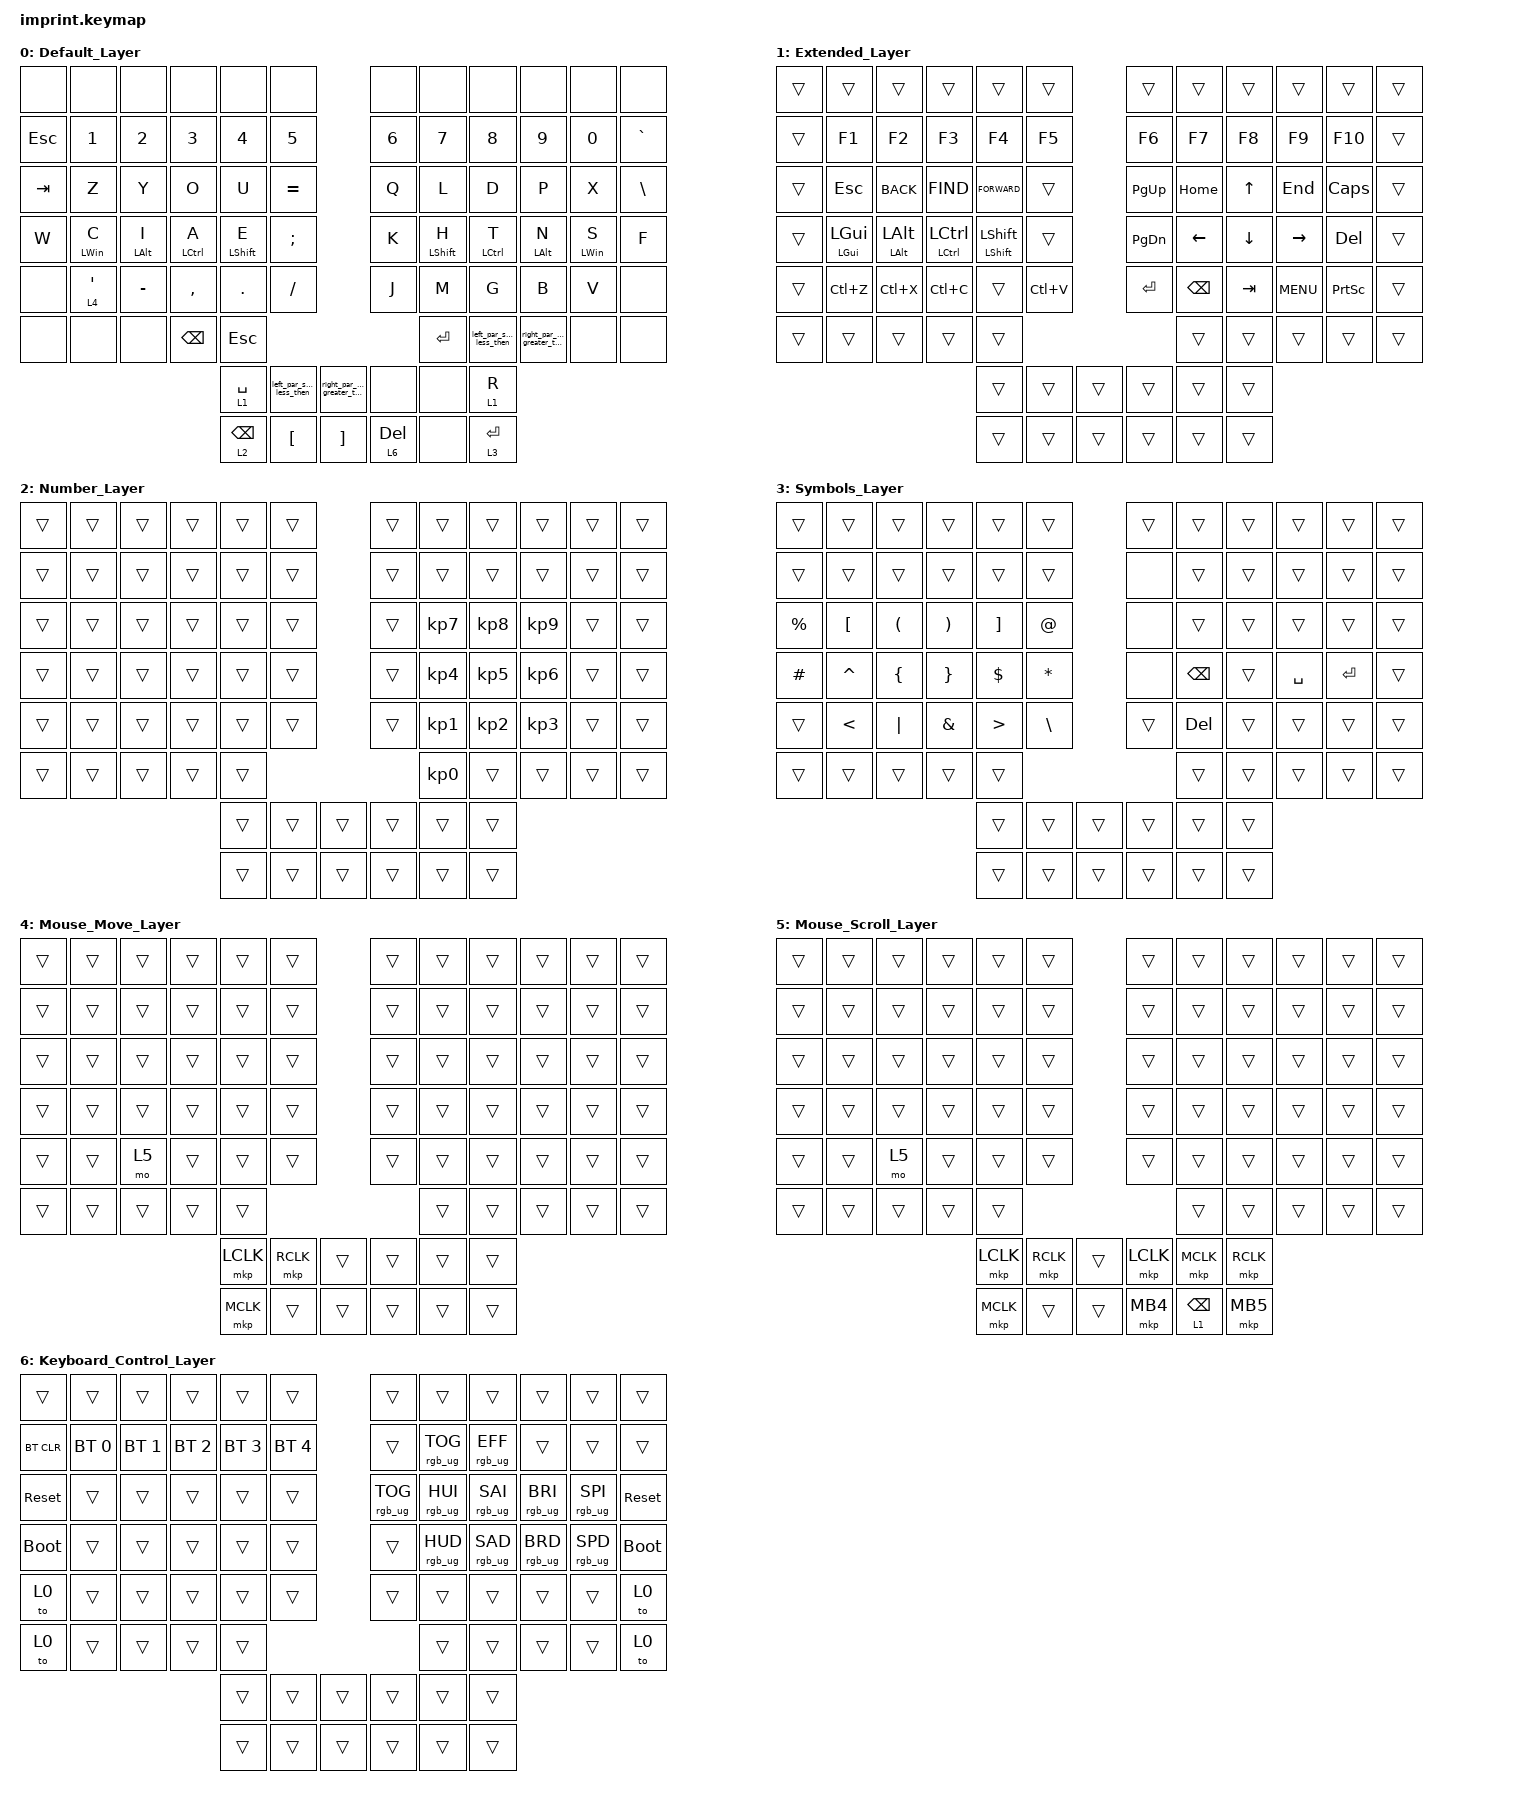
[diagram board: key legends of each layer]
#include <input/processors.dtsi>
#include <dt-bindings/zmk/input_transform.h>
#include <behaviors.dtsi>
#include <dt-bindings/zmk/bt.h>
#include <dt-bindings/zmk/keys.h>
#include <dt-bindings/zmk/pointing.h>
#include <dt-bindings/zmk/rgb.h>

/ {
    chosen { zmk,matrix-transform = &imprint_function_row_full_bottom_row; };

    behaviors {
        kp_150ms: kp_150ms {
            compatible = "zmk,behavior-hold-tap";
            label = "KP_150MS";
            bindings = <&kp>, <&kp>;

            #binding-cells = <2>;
            tapping-term-ms = <150>;
            flavor = "tap-preferred";
        };

        word_caps: word_caps {
            compatible = "zmk,behavior-caps-word";
            label = "WORD_CAPS";
            #binding-cells = <0>;
            continue-list = <UNDERSCORE MINUS DOT>;
        };

        hold_tap: hold_tap {
            compatible = "zmk,behavior-hold-tap";
            label = "HOLD_TAP";
            bindings = <&mo>, <&kp>;

            #binding-cells = <2>;
            tapping-term-ms = <150>;
            flavor = "balanced";
        };

        kp_170ms: kp_170ms {
            compatible = "zmk,behavior-hold-tap";
            label = "KP_170MS";
            bindings = <&kp>, <&kp>;

            #binding-cells = <2>;
            tapping-term-ms = <170>;
            flavor = "balanced";
        };

        hold_tap_one_shot: hold_tap_one_shot {
            compatible = "zmk,behavior-hold-tap";
            label = "HOLD_TAP_ONE_SHOT";
            bindings = <&kp>, <&sk_2s>;

            #binding-cells = <2>;
            tapping-term-ms = <150>;
            flavor = "tap-preferred";
            hold-trigger-key-positions = <18 19 20 21 22 23 30 31 32 33 34 35 42 43 44 45 46 47 54 55 56 57 58 59 65 66 67 68 69 6 7 8 9 10 11>;
        };

        sk_2s: sk_2s {
            compatible = "zmk,behavior-sticky-key";
            label = "modifiers sticky key";
            bindings = <&kp>;
            #binding-cells = <1>;
            release-after-ms = <2000>;
        };

        left_par_shift_less_then: left_par_shift_less_then {
            compatible = "zmk,behavior-mod-morph";
            label = "LEFT_PAR_SHIFT_LESS_THEN";
            bindings = <&kp LEFT_PARENTHESIS>, <&kp LESS_THAN>;

            #binding-cells = <0>;
            mods = <(MOD_LSFT|MOD_RSFT)>;
        };

        right_par_shift_greater_then: u {
            compatible = "zmk,behavior-mod-morph";
            label = "Y";
            bindings = <&kp RIGHT_PARENTHESIS>, <&kp GREATER_THAN>;

            #binding-cells = <0>;
            mods = <(MOD_LSFT|MOD_RSFT)>;
        };
    };

    combos {
        compatible = "zmk,combos";

        word_caps {
            bindings = <&caps_word>;
            key-positions = <76 81>;
        };
    };

    keymap {
        compatible = "zmk,keymap";

        Default_Layer {
            bindings = <
&none       &none                 &none                 &none              &none                   &none                                                       &none               &none                   &none                      &none                          &none                 &none
&kp ESCAPE  &kp N1                &kp N2                &kp N3             &kp N4                  &kp N5                                                      &kp N6              &kp N7                  &kp N8                     &kp N9                         &kp N0                &kp GRAVE
&kp TAB     &kp Z                 &kp Y                 &kp O              &kp U                   &kp EQUAL                                                   &kp Q               &kp L                   &kp D                      &kp P                          &kp X                 &kp BACKSLASH
&kp W       &kp_170ms LEFT_WIN C  &kp_150ms LEFT_ALT I  &kp_150ms LCTRL A  &kp_150ms LEFT_SHIFT E  &kp SEMICOLON                                               &kp K               &kp_150ms LEFT_SHIFT H  &kp_150ms LCTRL T          &kp_150ms LEFT_ALT N           &kp_170ms LEFT_WIN S  &kp F
&none       &hold_tap 4 SQT       &kp MINUS             &kp COMMA          &kp PERIOD              &kp SLASH                                                   &kp J               &kp M                   &kp G                      &kp B                          &kp V                 &none
&none       &none                 &none                 &kp BACKSPACE      &kp ESCAPE                                                                                              &kp ENTER               &left_par_shift_less_then  &right_par_shift_greater_then  &none                 &none
                                                                           &hold_tap 1 SPACE       &left_par_shift_less_then  &right_par_shift_greater_then    &none               &none                   &hold_tap 1 R
                                                                           &hold_tap 2 BACKSPACE   &kp LEFT_BRACKET           &kp RIGHT_BRACKET                &hold_tap 6 DELETE  &none                   &hold_tap 3 ENTER
            >;
        };

        Extended_Layer {
            bindings = <
&trans  &trans                                &trans                                &trans                                 &trans                            &trans               &trans         &trans         &trans    &trans      &trans           &trans
&trans  &kp F1                                &kp F2                                &kp F3                                 &kp F4                            &kp F5               &kp F6         &kp F7         &kp F8    &kp F9      &kp F10          &trans
&trans  &kp ESC                               &kp K_BACK                            &kp K_FIND                             &kp K_FORWARD                     &trans               &kp PG_UP      &kp HOME       &kp UP    &kp END     &kp CAPSLOCK     &trans
&trans  &hold_tap_one_shot LEFT_GUI LEFT_GUI  &hold_tap_one_shot LEFT_ALT LEFT_ALT  &hold_tap_one_shot LCTRL LEFT_CONTROL  &hold_tap_one_shot LSHIFT LSHIFT  &trans               &kp PAGE_DOWN  &kp LEFT       &kp DOWN  &kp RIGHT   &kp DELETE       &trans
&trans  &kp LC(Z)                             &kp LC(X)                             &kp LC(C)                              &trans                            &kp LC(V)            &kp ENTER      &kp BACKSPACE  &kp TAB   &kp K_MENU  &kp PRINTSCREEN  &trans
&trans  &trans                                &trans                                &trans                                 &trans                                                                &trans         &trans    &trans      &trans           &trans
                                                                                                                           &trans                            &trans     &trans    &trans         &trans         &trans
                                                                                                                           &trans                            &trans     &trans    &trans         &trans         &trans
            >;
        };

        Number_Layer {
            bindings = <
&trans  &trans  &trans  &trans  &trans  &trans            &trans  &trans           &trans           &trans           &trans  &trans
&trans  &trans  &trans  &trans  &trans  &trans            &trans  &trans           &trans           &trans           &trans  &trans
&trans  &trans  &trans  &trans  &trans  &trans            &trans  &kp KP_NUMBER_7  &kp KP_NUMBER_8  &kp KP_NUMBER_9  &trans  &trans
&trans  &trans  &trans  &trans  &trans  &trans            &trans  &kp KP_NUMBER_4  &kp KP_NUMBER_5  &kp KP_NUMBER_6  &trans  &trans
&trans  &trans  &trans  &trans  &trans  &trans            &trans  &kp KP_NUMBER_1  &kp KP_NUMBER_2  &kp KP_NUMBER_3  &trans  &trans
&trans  &trans  &trans  &trans  &trans                            &kp KP_NUMBER_0  &trans           &trans           &trans  &trans
                                &trans  &trans  &trans    &trans  &trans           &trans
                                &trans  &trans  &trans    &trans  &trans           &trans
            >;
        };

        Symbols_Layer {
            bindings = <
&trans       &trans            &trans                &trans                 &trans             &trans                   &trans  &trans         &trans  &trans     &trans     &trans
&trans       &trans            &trans                &trans                 &trans             &trans                   &none   &trans         &trans  &trans     &trans     &trans
&kp PERCENT  &kp LEFT_BRACKET  &kp LEFT_PARENTHESIS  &kp RIGHT_PARENTHESIS  &kp RIGHT_BRACKET  &kp AT_SIGN              &none   &trans         &trans  &trans     &trans     &trans
&kp HASH     &kp CARET         &kp LEFT_BRACE        &kp RIGHT_BRACE        &kp DOLLAR         &kp ASTERISK             &none   &kp BACKSPACE  &trans  &kp SPACE  &kp ENTER  &trans
&trans       &kp LESS_THAN     &kp PIPE              &kp AMPERSAND          &kp GREATER_THAN   &kp BACKSLASH            &trans  &kp DELETE     &trans  &trans     &trans     &trans
&trans       &trans            &trans                &trans                 &trans                                              &trans         &trans  &trans     &trans     &trans
                                                                            &trans             &trans         &trans    &trans  &trans         &trans
                                                                            &trans             &trans         &trans    &trans  &trans         &trans
            >;
        };

        Mouse_Move_Layer {
            bindings = <
&trans  &trans  &trans  &trans  &trans     &trans               &trans  &trans  &trans  &trans  &trans  &trans
&trans  &trans  &trans  &trans  &trans     &trans               &trans  &trans  &trans  &trans  &trans  &trans
&trans  &trans  &trans  &trans  &trans     &trans               &trans  &trans  &trans  &trans  &trans  &trans
&trans  &trans  &trans  &trans  &trans     &trans               &trans  &trans  &trans  &trans  &trans  &trans
&trans  &trans  &mo 5   &trans  &trans     &trans               &trans  &trans  &trans  &trans  &trans  &trans
&trans  &trans  &trans  &trans  &trans                                  &trans  &trans  &trans  &trans  &trans
                                &mkp LCLK  &mkp RCLK  &trans    &trans  &trans  &trans
                                &mkp MCLK  &trans     &trans    &trans  &trans  &trans
            >;
        };

        Mouse_Scroll_Layer {
            bindings = <
&trans  &trans  &trans  &trans  &trans     &trans               &trans     &trans                 &trans     &trans  &trans  &trans
&trans  &trans  &trans  &trans  &trans     &trans               &trans     &trans                 &trans     &trans  &trans  &trans
&trans  &trans  &trans  &trans  &trans     &trans               &trans     &trans                 &trans     &trans  &trans  &trans
&trans  &trans  &trans  &trans  &trans     &trans               &trans     &trans                 &trans     &trans  &trans  &trans
&trans  &trans  &mo 5   &trans  &trans     &trans               &trans     &trans                 &trans     &trans  &trans  &trans
&trans  &trans  &trans  &trans  &trans                                     &trans                 &trans     &trans  &trans  &trans
                                &mkp LCLK  &mkp RCLK  &trans    &mkp LCLK  &mkp MCLK              &mkp RCLK
                                &mkp MCLK  &trans     &trans    &mkp MB4   &hold_tap 1 BACKSPACE  &mkp MB5
            >;
        };

        Keyboard_Control_Layer {
            bindings = <
&trans       &trans        &trans        &trans        &trans        &trans                  &trans           &trans           &trans           &trans           &trans           &trans
&bt BT_CLR   &bt BT_SEL 0  &bt BT_SEL 1  &bt BT_SEL 2  &bt BT_SEL 3  &bt BT_SEL 4            &trans           &rgb_ug RGB_TOG  &rgb_ug RGB_EFF  &trans           &trans           &trans
&sys_reset   &trans        &trans        &trans        &trans        &trans                  &rgb_ug RGB_TOG  &rgb_ug RGB_HUI  &rgb_ug RGB_SAI  &rgb_ug RGB_BRI  &rgb_ug RGB_SPI  &sys_reset
&bootloader  &trans        &trans        &trans        &trans        &trans                  &trans           &rgb_ug RGB_HUD  &rgb_ug RGB_SAD  &rgb_ug RGB_BRD  &rgb_ug RGB_SPD  &bootloader
&to 0        &trans        &trans        &trans        &trans        &trans                  &trans           &trans           &trans           &trans           &trans           &to 0
&to 0        &trans        &trans        &trans        &trans                                                 &trans           &trans           &trans           &trans           &to 0
                                                       &trans        &trans        &trans    &trans           &trans           &trans
                                                       &trans        &trans        &trans    &trans           &trans           &trans
            >;
        };
    };

    conditional_layers { compatible = "zmk,conditional-layers"; };
};

&trackball_peripheral_listener {
    sniper {
        layers = <4>;
        input-processors = <&zip_xy_scaler 1 5>;
    };

    scroller {
        layers = <5>;
        input-processors =
            <&zip_xy_scaler 1 3>,
            <&zip_xy_to_scroll_mapper>,
            <&zip_scroll_transform INPUT_TRANSFORM_Y_INVERT>;
    };
};
